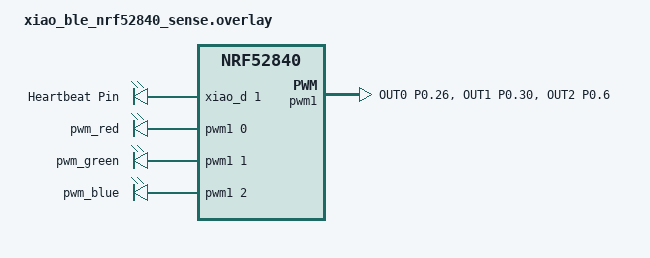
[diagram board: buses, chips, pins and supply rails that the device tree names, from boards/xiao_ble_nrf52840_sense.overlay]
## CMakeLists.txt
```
# SPDX-License-Identifier: Apache-2.0

cmake_minimum_required(VERSION 3.20.0)
list(APPEND ZEPHYR_EXTRA_MODULES ${CMAKE_CURRENT_SOURCE_DIR}/../drivers)
find_package(Zephyr REQUIRED HINTS $ENV{ZEPHYR_BASE})
target_include_directories(app PRIVATE ${CMAKE_CURRENT_SOURCE_DIR}/../include)

project(project-base)

FILE(GLOB app_sources src/*.c)
target_sources(app PRIVATE
    ${app_sources}
)
```

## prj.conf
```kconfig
# Bluetooth stuff
CONFIG_BT=y
CONFIG_BT_CENTRAL=y         # for NUS client
CONFIG_BT_ZEPHYR_NUS=y      # for NUS
CONFIG_BT_GATT_CLIENT=y     # to discover "mobile chip"
CONFIG_BT_OBSERVER=y        # for scanning
CONFIG_BT_EXT_ADV=y         # for scanning
CONFIG_BT_MAX_CONN=3

# Increase the number of ATT packets that can be queued
CONFIG_BT_ATT_TX_COUNT=9
CONFIG_BT_BUF_ACL_TX_COUNT=9
# Ensure the L2CAP TX buffer pool can accommodate the increase
CONFIG_BT_L2CAP_TX_BUF_COUNT=9

# More BT stuff
# Data Length Extension and MTU  
CONFIG_BT_USER_DATA_LEN_UPDATE=y
CONFIG_BT_CTLR_DATA_LENGTH_MAX=251
CONFIG_BT_BUF_ACL_RX_SIZE=251
CONFIG_BT_BUF_ACL_TX_SIZE=251
CONFIG_BT_L2CAP_TX_MTU=247

# Enables the use of k_malloc
CONFIG_HEAP_MEM_POOL_SIZE=4096

# Float support for printk
CONFIG_CBPRINTF_FP_SUPPORT=y

# JSON Library
CONFIG_JSON_LIBRARY=y

# Enable the Floating Point Unit in hardware
CONFIG_FPU=y
CONFIG_FPU_SHARING=y # Save FPU registers on context switch

# Possible Stack error detection in hardware
CONFIG_HW_STACK_PROTECTION=y

# UART Stuff
CONFIG_SERIAL=y
CONFIG_UART_INTERRUPT_DRIVEN=y

# HID keyboard
CONFIG_USB_DEVICE_STACK_NEXT=y
CONFIG_CDC_ACM_SERIAL_INITIALIZE_AT_BOOT=n
CONFIG_USBD_HID_SUPPORT=y

# Power management
CONFIG_REBOOT=y

# CRC tools to ensure validty of packets
CONFIG_CRC=y

# Increases Zephyr Workqueue thread stack
CONFIG_SYSTEM_WORKQUEUE_STACK_SIZE=4096

CONFIG_POSIX_API=y
```

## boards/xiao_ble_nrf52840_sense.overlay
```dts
/ {
	aliases {
		heartbeat = &heartbeat_pin;
	};

	leds {
		heartbeat_pin: heartbeat_pin {
			gpios = <&xiao_d 1 GPIO_ACTIVE_HIGH>;  /* D1 */
			label = "Heartbeat Pin";
		};
	};

	hid_dev_0: hid_dev_0 {
		compatible = "zephyr,hid-device";
		label = "HID0";
		protocol-code = "keyboard";
		in-report-size = <64>;
		in-polling-period-us = <1000>;
	};

	// Taken from the kite overlay
	pwm_leds {
		compatible = "pwm-leds";

		pwm_red: pwm_red {
			pwms = <&pwm1 0 PWM_MSEC(20) PWM_POLARITY_INVERTED>;
		};

		pwm_green: pwm_green {
			pwms = <&pwm1 1 PWM_MSEC(20) PWM_POLARITY_INVERTED>;
		};

		pwm_blue: pwm_blue {
			pwms = <&pwm1 2 PWM_MSEC(20) PWM_POLARITY_INVERTED>;
		};
	};
};

// Taken from the kite overlay
&pinctrl {
	pwm1_default: pwm1_default {
		group1 {
			psels = <NRF_PSEL(PWM_OUT0, 0, 26)>,  /* Red LED */
				<NRF_PSEL(PWM_OUT1, 0, 30)>,   /* Green LED */
				<NRF_PSEL(PWM_OUT2, 0, 6)>;    /* Blue LED */
			nordic,invert;
		};
	};

	pwm1_sleep: pwm1_sleep {
		group1 {
			psels = <NRF_PSEL(PWM_OUT0, 0, 26)>,
				<NRF_PSEL(PWM_OUT1, 0, 30)>,
				<NRF_PSEL(PWM_OUT2, 0, 6)>;
			low-power-enable;
		};
	};
};

&pwm1 {
	status = "okay";
	pinctrl-0 = <&pwm1_default>;
	pinctrl-1 = <&pwm1_sleep>;
	pinctrl-names = "default", "sleep";
};
```

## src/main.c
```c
/*
 * Copyright (c) 2026 Jack Cairns, Eden Mehr, Muhammed Abdilrahmin
 *
 * SPDX-License-Identifier: Apache-2.0
 */

#include <zephyr/kernel.h>
#include "zephyr/sys/atomic.h"
#include "zephyr/sys/reboot.h"
#include <zephyr/sys/printk.h>

#include <stdint.h>
#include <time.h>

#include "common.h"
#include "gatt.h"
#include "rb_tree.h"
#include "uart.h"

#define ONE_MIN         60000
#define CONN_TIMEOUT_MS 60000

/* ========================================================================== */
/* ENTRY POINT                                                                */
/* ========================================================================== */
int main(void)
{
    printk("[INFO] CSSE4011 Project Base Chip\r\n");

    // Wait for the rb_tree to initialise
    if (k_sem_take(&rb_semaphore, K_SECONDS(5)) < 0) {
        goto reboot;
    }

    int err = initialise_base_gatt();
    if (err < 0) {
        goto reboot;
    }

    struct cmd_ble_packet packet = {0};
    int64_t last_connected = k_uptime_get();
    int64_t prev = last_connected;

    while (1) {
        int64_t current = k_uptime_get();

        rb_lock();
        struct helm_node *node = get_rb_node(0);
        int connected = node && node->connection_status;
        rb_unlock();

        if (connected) {
            last_connected = current;
        } else if ((current - last_connected) > CONN_TIMEOUT_MS) {
            goto reboot;
        }

        if (atomic_get(&is_time_set) && (current - prev) > ONE_MIN) {
            prev = current;
            packet.cmd = 1;
            struct timespec tp;
            clock_gettime(CLOCK_REALTIME, &tp);
            packet.time = tp.tv_sec;
        } else {
            packet.cmd = 0;
            packet.time = 0;
        }

        send_sync_pulse_to_helms((uint8_t *)&packet, sizeof(struct cmd_ble_packet));
        k_msleep(PULSE_DELAY);
    }

    return (0);

reboot:
    // sys_reboot doesn't return
    sys_reboot(SYS_REBOOT_WARM);
    return (-1);
}
```

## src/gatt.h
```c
/*
 * Copyright (c) 2026 Jack Cairns, Eden Mehr, Muhammed Abdilrahmin
 *
 * SPDX-License-Identifier: Apache-2.0
 */

#ifndef GATT_H
#define GATT_H

#include "zephyr/kernel.h"

int initialise_base_gatt(void);
int send_sync_pulse_to_helms(uint8_t *data, uint16_t len);

/* Message Queue containing recieved data */
extern struct k_msgq gatt_msg_queue;

#endif
```

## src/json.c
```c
/*
 * Copyright (c) 2026 Jack Cairns, Eden Mehr, Muhammed Abdilrahmin
 *
 * SPDX-License-Identifier: Apache-2.0
 */

#include "common.h"
#include "json.h"

#include <math.h>

#include <zephyr/data/json.h>

#define DOUBLE_SCALE 1000

struct bat_wire {
    time_t timestamp;
    int64_t bat_mv;
    int32_t bat_charge;
};

struct imu_wire {
    time_t timestamp;
    int64_t gyro_rads;
    int64_t accel_ms2;
};

struct helm_wire {
    struct imu_wire imu;
    struct bat_wire bat;
    uint8_t connection_status;
    uint8_t id;
};

struct json_wire {
    time_t time;
    struct helm_wire nodeA;
    struct helm_wire nodeB;
    uint64_t speed;
    int8_t direction;
};

/* ========================================================================== */
/* Descriptors                                                                */
/* ========================================================================== */

static const struct json_obj_descr bat_json_descr[] = {
    JSON_OBJ_DESCR_PRIM(struct bat_wire, timestamp, JSON_TOK_INT64),
    JSON_OBJ_DESCR_PRIM(struct bat_wire, bat_mv, JSON_TOK_INT64),
    JSON_OBJ_DESCR_PRIM(struct bat_wire, bat_charge, JSON_TOK_INT),
};

static const struct json_obj_descr imu_json_descr[] = {
    JSON_OBJ_DESCR_PRIM(struct imu_wire, timestamp, JSON_TOK_INT64),
    JSON_OBJ_DESCR_PRIM(struct imu_wire, gyro_rads, JSON_TOK_INT64),
    JSON_OBJ_DESCR_PRIM(struct imu_wire, accel_ms2, JSON_TOK_INT64),
};

static const struct json_obj_descr helm_json_descr[] = {
    JSON_OBJ_DESCR_OBJECT(struct helm_wire, imu, imu_json_descr),
    JSON_OBJ_DESCR_OBJECT(struct helm_wire, bat, bat_json_descr),
    JSON_OBJ_DESCR_PRIM(struct helm_wire, connection_status, JSON_TOK_UINT),
    JSON_OBJ_DESCR_PRIM(struct helm_wire, id, JSON_TOK_UINT),
};

static const struct json_obj_descr json_descr[] = {
    JSON_OBJ_DESCR_PRIM(struct json_wire, time, JSON_TOK_INT64),
    JSON_OBJ_DESCR_OBJECT(struct json_wire, nodeA, helm_json_descr),
    JSON_OBJ_DESCR_OBJECT(struct json_wire, nodeB, helm_json_descr),
    JSON_OBJ_DESCR_PRIM(struct json_wire, speed, JSON_TOK_INT64),
    JSON_OBJ_DESCR_PRIM(struct json_wire, direction, JSON_TOK_INT),
};

static const struct json_obj_descr cmd_descr[] = {
    JSON_OBJ_DESCR_PRIM(struct cmd_packet, cmd, JSON_TOK_UINT),
    JSON_OBJ_DESCR_PRIM(struct cmd_packet, pulse, JSON_TOK_UINT),
    JSON_OBJ_DESCR_PRIM(struct cmd_packet, time, JSON_TOK_INT64),
};

static inline void imu_to_wire(struct imu_wire *w, const struct imu_data *d)
{
    w->timestamp = d->timestamp;
    w->gyro_rads = (int64_t)(d->gyro_rads * DOUBLE_SCALE);
    w->accel_ms2 = (int64_t)(d->accel_ms2 * DOUBLE_SCALE);
}

static inline void wire_to_imu(const struct imu_wire *w, struct imu_data *d)
{
    d->timestamp = w->timestamp;
    d->gyro_rads = w->gyro_rads / (double)DOUBLE_SCALE;
    d->accel_ms2 = w->accel_ms2 / (double)DOUBLE_SCALE;
}

static inline void bat_to_wire(struct bat_wire *w, const struct bat_packet *b)
{
    w->timestamp = b->timestamp;
    w->bat_mv = (int64_t)(b->bat_mv * DOUBLE_SCALE);
    w->bat_charge = b->bat_charge;
}

static inline void wire_to_bat(const struct bat_wire *w, struct bat_packet *b)
{
    b->timestamp = w->timestamp;
    b->bat_mv = w->bat_mv / (double)DOUBLE_SCALE;
    b->bat_charge = w->bat_charge;
}

static inline void helm_to_wire(struct helm_wire *w, const struct helm_packet *h)
{
    imu_to_wire(&w->imu, &h->imu);
    bat_to_wire(&w->bat, &h->bat);
    w->connection_status = h->connection_status;
    w->id = h->id;
}

static inline void wire_to_helm(const struct helm_wire *w, struct helm_packet *h)
{
    wire_to_imu(&w->imu, &h->imu);
    wire_to_bat(&w->bat, &h->bat);
    h->connection_status = w->connection_status;
    h->id = w->id;
}

/* ========================================================================== */
/* Encode / Decode                                                            */
/* ========================================================================== */

int encode_cmd_packet(struct cmd_packet *val, char *buffer, size_t buf_size)
{
    int ret = json_obj_encode_buf(cmd_descr, ARRAY_SIZE(cmd_descr), val, buffer, buf_size);
    return (ret);
}

int decode_cmd_packet(char *input, size_t len, struct cmd_packet *data)
{
    int ret = json_obj_parse(input, len, cmd_descr, ARRAY_SIZE(cmd_descr), data);
    return (ret < 0) ? (ret) : 0;
}

/* Encodes a cmd_json struct into a JSON string in the provided buffer. */
int encode_json_packet(struct json_packet *val, char *buffer, size_t buf_size)
{
    struct json_wire wire = {
        .direction = val->direction,
        .speed = sqrt(val->speed / RADIUS) * DOUBLE_SCALE,
        .time = val->time,
    };

    helm_to_wire(&wire.nodeA, &val->nodeA);
    helm_to_wire(&wire.nodeB, &val->nodeB);

    int ret = json_obj_encode_buf(json_descr, ARRAY_SIZE(json_descr), &wire, buffer, buf_size);
    return (ret);
}

/* Decodes a JSON string into a cmd_json struct. */
int decode_json_packet(char *input, size_t len, struct json_packet *data)
{
    struct json_wire wire = {0};
    int ret = json_obj_parse(input, len, json_descr, ARRAY_SIZE(json_descr), &wire);
    if (ret < 0) {
        return ret;
    }

    data->time = wire.time;
    data->speed = wire.speed / (double)DOUBLE_SCALE;
    data->direction = wire.direction;
    wire_to_helm(&wire.nodeA, &data->nodeA);
    wire_to_helm(&wire.nodeB, &data->nodeB);
    return 0;
}
```

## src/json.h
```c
/*
 * Copyright (c) 2026 Jack Cairns, Eden Mehr, Muhammed Abdilrahmin
 *
 * SPDX-License-Identifier: Apache-2.0
 */

#ifndef JSON_H
#define JSON_H

#include "common.h"
#include <stddef.h>
#include <stdint.h>
#include <time.h>

struct helm_packet {
    struct imu_data imu;
    struct bat_packet bat;
    uint8_t connection_status;
    uint8_t id;
};

struct json_packet {
    time_t time;
    struct helm_packet nodeA;
    struct helm_packet nodeB;
    double speed;
    int8_t direction;
};

struct cmd_packet {
    uint8_t cmd;
    uint16_t pulse;
    time_t time;
};

int encode_cmd_packet(struct cmd_packet *val, char *buffer, size_t buf_size);
int decode_cmd_packet(char *input, size_t len, struct cmd_packet *data);
int encode_json_packet(struct json_packet *val, char *buffer, size_t buf_size);
int decode_json_packet(char *input, size_t len, struct json_packet *data);

#endif
```

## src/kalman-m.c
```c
// /* ========================================================================== */
// /* Kalman Filter Algorithm Source                                             */
// /* Written: Muhammed A                                                        */
// /* ========================================================================== */

// #include "kalman-m.h"

// #include <stdlib.h>
// #include <math.h>
// #include <zephyr/kernel.h>

// #define KALMAN_DT 0.1

// // A lot of these seem really as if they came out of nowhere, but they're the
// // process of trying to simplify the arithmetic of matrix multiplications
// // as significantly as possible. For example, calculating the P array in 
// // kf_predict requires calculating F * P * F^T - but since F is a constant
// // (and a simple one at that), it is very significantly faster, safer, and 
// // much more memory efficient to just simplify it. These simplifications were
// // done using https://www.matrixmultiplicationscalculator.com/ because I don't
// // trust my matrix multiplication skills lol

// static const double kalman_dt = KALMAN_DT;
// static const double kalman_dt2 = pow(KALMAN_DT, 2);

// void kf_init(struct kalman *kf, double Q, double R, double x0)
// {
//     kf->Q = Q;
//     kf->R = R;

//     // Starting at 0 (this is only for one axis)
//     kf->x_k[0] = x0;
//     kf->x_k[1] = 0;

//     // We just want a simple P matrix at the beginning since we have no 
//     // information about our sensor variance
//     kf->P[0][0] = 1;
//     kf->P[1][1] = 1;
//     kf->P[0][1] = 0;
//     kf->P[1][0] = 0;
// }

// // Predict first...
// void kf_predict(struct kalman *kf)
// {
//     // Constant velocity - just adds the velocity from last time on.
//     kf->x_k[0] += kalman_dt * kf->x_k[1];

//     kf->P[0][0] += kf->P[0][1] + kalman_dt * kf->P[1][0] +
//                    kalman_dt2 * kf->P[1][1] + kf->Q;
//     kf->P[0][1] += kalman_dt * kf->P[1][1];
//     kf->P[1][0] += kalman_dt * kf->P[1][1];
//     kf->P[1][1] += kf->Q;
// }

// // Get the values...
// // Then update:
// void kf_update(struct kalman *kf, double measurement)
// {
//     double K[2];
//     // By the miracle of matrix multiplication, the calculation for HPH^T
//     // literally just flattens to being the first item of the P array.
//     double K_scaling = 1 / (kf->P[0][0] + kf->R);
//     K[0] = K_scaling * kf->P[0][0];
//     K[1] = K_scaling * kf->P[1][0];

//     // Calculating x_update
//     kf->x_k[0] += K[0] * (measurement - kf->x_k[0]);
//     kf->x_k[1] += K[1] * (measurement - kf->x_k[0]);

//     // When calculating (I - K*H), it is of the form [1-K[0]  0], [-K[1]  1]
//     // Hence there are only two variables - here they are known as A and B,
//     // where A = 1 - K[0]; and B = -K[1];
//     double a = 1 - K[0];
//     double b = -K[1];

//     kf->P[1][0] += kf->P[0][0] * b;
//     kf->P[1][1] += kf->P[0][1] * b;

//     kf->P[0][0] *= a;
//     kf->P[0][1] *= a;
// }
```

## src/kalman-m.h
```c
// /* ========================================================================== */
// /* Kalman Filter Algorithm Header                                             */
// /* Written: Muhammed A                                                        */
// /* ========================================================================== */

// #ifndef BASE_KALMAN_H
// #define BASE_KALMAN_H

// #include <zephyr/kernel.h>

// // Default values (this was just trial and error)
// #define KF_Q  0.5
// #define KF_R  20
// #define KF_X0 0

// struct kalman {
//     // F will always be [1 dt] [0 1]
//     // H matrix is [1 0] 
//     double Q;
//     double R;

//     double x_k[2];
//     double P[2][2];
// };

// void kf_init(struct kalman *kf, double Q, double R, double x0);
// void kf_predict(struct kalman *kf);
// void kf_update(struct kalman *kf, double measurement);

// #endif
```

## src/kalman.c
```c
// /*
//  * Copyright (c) 2026 Jack Cairns, Eden Mehr
//  *
//  * SPDX-License-Identifier: Apache-2.0
//  */

// #include "kalman.h"
// #include "matrix.h"
// #include "localisation.h"

// #include "zephyr/kernel.h"
// #include "zephyr/toolchain.h"
// #include <stdint.h>
// #include <stdio.h>
// #include <math.h>

// K_MSGQ_DEFINE(kalman_msg_queue, sizeof(struct all_position), 5, 4);

// /* ========================================================================== */
// /* Filter State                                                               */
// /* Static instance of the 2D Kalman filter. Matrices are zero-initialised     */
// /* here; kf_init() fills in the correct values before the thread runs.        */
// /* F and H are set to identity/observation defaults; Q, R, P are zeroed       */
// /* and populated at runtime to allow variable-dt updates.                     */
// /* ========================================================================== */

// /* clang-format off */
// struct kalman_filter_2D filter = {
//     .F = {
//         {1, 0, 0, 0},
//         {0, 1, 0, 0},
//         {0, 0, 1, 0},
//         {0, 0, 0, 1}},
//     .H = {
//         {1, 0, 0, 0},
//         {0, 1, 0, 0}},
//     .Q = {
//         {0, 0, 0, 0},
//         {0, 0, 0, 0},
//         {0, 0, 0, 0},
//         {0, 0, 0, 0}},
//     .R = {
//         {0, 0},
//         {0, 0}},
//     .P = {
//         {0, 0, 0, 0},
//         {0, 0, 0, 0},
//         {0, 0, 0, 0},
//         {0, 0, 0, 0}},
//     .x = {
//         {0}, {0}, {0}, {0}}
// };

// /* Identity matrix reused in the covariance update step: P = (I - KH) * P */
// double identity[NUM_STATES][NUM_STATES] = {
//     {1, 0, 0, 0},
//     {0, 1, 0, 0},
//     {0, 0, 1, 0},
//     {0, 0, 0, 1}
// };
// /* clang-format on */

// /* ========================================================================== */
// /* INITIALISATION                                                             */
// /* Sets up F, Q, R, and P using the default DT defined in kalman.h.           */
// /* Called once before the filter loop starts. F and Q will be rebuilt each    */
// /* cycle by kf_update_dt() using the actual measured dt.                      */
// /*                                                                            */
// /* Tuning knobs (defined in kalman.h):                                        */
// /*   Q_VAR - process noise variance. Increase if output lags real position.   */
// /*   R_VAR - measurement noise variance. Increase if output is too noisy.     */
// /*   P0    - initial state covariance diagonal. Decrease for faster           */
// /*           convergence at startup.                                          */
// /* ========================================================================== */

// void kf_init(struct kalman_filter_2D *kf)
// {
//     double dt = DT;
//     double dt2 = pow(DT, 2);
//     double dt3 = pow(DT, 3);
//     double dt4 = pow(DT, 4);

//     /* State transition matrix F: constant-velocity model */
//     /* x_k = x_{k-1} + vx*dt,  y_k = y_{k-1} + vy*dt      */
//     kf->F[0][2] = dt;
//     kf->F[1][3] = dt;

//     /* Process noise covariance Q: derived from continuous white noise */
//     /* acceleration model, discretised over dt.                        */
//     kf->Q[0][0] = dt4 / 4 * Q_VAR;
//     kf->Q[0][2] = dt3 / 2 * Q_VAR;
//     kf->Q[1][1] = dt4 / 4 * Q_VAR;
//     kf->Q[1][3] = dt3 / 2 * Q_VAR;
//     kf->Q[2][0] = dt3 / 2 * Q_VAR;
//     kf->Q[2][2] = dt2 * Q_VAR;
//     kf->Q[3][1] = dt3 / 2 * Q_VAR;
//     kf->Q[3][3] = dt2 * Q_VAR;

//     /* Measurement noise covariance R: assumed diagonal (x and y */
//     /* measurement errors are independent).                      */
//     kf->R[0][0] = R_VAR;
//     kf->R[1][1] = R_VAR;

//     /* Initial state covariance P: diagonal with P0, reflecting high */
//     /* initial uncertainty in both position and velocity states.     */
//     for (uint8_t i = 0; i < NUM_STATES; i++) {
//         for (uint8_t j = 0; j < NUM_STATES; j++) {
//             kf->P[i][j] = (i == j) ? P0 : 0.0;
//         }
//     }
// }

// /* ========================================================================== */
// /* UPDATE DT                                                                  */
// /* Rebuilds F and Q for the actual elapsed time since the last measurement.   */
// /* Must be called before kf_predict() each cycle so the motion model and      */
// /* process noise correctly reflect the real sample interval rather than the   */
// /* fixed DT fallback.                                                         */
// /* ========================================================================== */

// static void kf_update_dt(struct kalman_filter_2D *kf, double dt)
// {
//     double dt2 = dt * dt;
//     double dt3 = dt2 * dt;
//     double dt4 = dt3 * dt;

//     /* Rebuild state transition matrix with new dt */
//     kf->F[0][2] = dt;
//     kf->F[1][3] = dt;

//     /* Rebuild process noise covariance with new dt */
//     kf->Q[0][0] = dt4 / 4 * Q_VAR;
//     kf->Q[0][2] = dt3 / 2 * Q_VAR;
//     kf->Q[1][1] = dt4 / 4 * Q_VAR;
//     kf->Q[1][3] = dt3 / 2 * Q_VAR;
//     kf->Q[2][0] = dt3 / 2 * Q_VAR;
//     kf->Q[2][2] = dt2 * Q_VAR;
//     kf->Q[3][1] = dt3 / 2 * Q_VAR;
//     kf->Q[3][3] = dt2 * Q_VAR;
// }

// /* ========================================================================== */
// /* PREDICT STEP                                                               */
// /* Projects the state and covariance forward one timestep using the motion    */
// /* model F and process noise Q.                                               */
// /*                                                                            */
// /*   x = F * x                                                                */
// /*   P = F * P * F^T + Q                                                      */
// /* ========================================================================== */

// static void kf_predict(struct kalman_filter_2D *kf)
// {
//     /* x = F * x */
//     matrix_multi(&(kf->F[0][0]), &(kf->x[0][0]), &(kf->x_prior[0][0]), NUM_STATES, NUM_STATES, 1);

//     /* P = F * P * F^T + Q */
//     double Ft[NUM_STATES][NUM_STATES];
//     matrix_trans(&(kf->F[0][0]), &(Ft[0][0]), NUM_STATES, NUM_STATES);

//     double FP[NUM_STATES][NUM_STATES];
//     matrix_multi(&(kf->F[0][0]), &(kf->P[0][0]), &(FP[0][0]), NUM_STATES, NUM_STATES, NUM_STATES);

//     double FPFt[NUM_STATES][NUM_STATES];
//     matrix_multi(&(FP[0][0]), &(Ft[0][0]), &(FPFt[0][0]), NUM_STATES, NUM_STATES, NUM_STATES);

//     matrix_add(&(FPFt[0][0]), &(kf->Q[0][0]), &(kf->P_prior[0][0]), NUM_STATES, NUM_STATES);

//     /* Commit predicted state and covariance */
//     matrix_copy(&(kf->x_prior[0][0]), &(kf->x[0][0]), NUM_STATES, 1);
//     matrix_copy(&(kf->P_prior[0][0]), &(kf->P[0][0]), NUM_STATES, NUM_STATES);
// }

// /* ========================================================================== */
// /* UPDATE STEP                                                                */
// /* Corrects the predicted state using the new position measurement z.         */
// /*                                                                            */
// /*   y = z - H * x              (innovation)                                  */
// /*   S = H * P * H^T + R        (innovation covariance)                       */
// /*   K = P * H^T * S^-1         (Kalman gain)                                 */
// /*   x = x + K * y              (state update)                                */
// /*   P = (I - K * H) * P        (covariance update)                           */
// /*                                                                            */
// /* Returns -EINVAL if S is singular (measurement is discarded).               */
// /* ========================================================================== */

// static int kf_update(struct kalman_filter_2D *kf, double z[NUM_MEAS][1])
// {
//     int err;

//     /* y = z - H * x */
//     double Hx[NUM_MEAS][1];
//     matrix_multi(&(kf->H[0][0]), &(kf->x[0][0]), &(Hx[0][0]), NUM_MEAS, NUM_STATES, 1);

//     double y[NUM_MEAS][1];
//     matrix_sub(&(z[0][0]), &(Hx[0][0]), &(y[0][0]), NUM_MEAS, 1);

//     /* S = H * P * H^T + R */
//     double Ht[NUM_STATES][NUM_MEAS];
//     matrix_trans(&(kf->H[0][0]), &(Ht[0][0]), NUM_MEAS, NUM_STATES);

//     double HP[NUM_MEAS][NUM_STATES];
//     matrix_multi(&(kf->H[0][0]), &(kf->P[0][0]), &(HP[0][0]), NUM_MEAS, NUM_STATES, NUM_STATES);

//     double S[NUM_MEAS][NUM_MEAS];
//     matrix_multi(&(HP[0][0]), &(Ht[0][0]), &(S[0][0]), NUM_MEAS, NUM_STATES, NUM_MEAS);
//     matrix_add(&(S[0][0]), &(kf->R[0][0]), &(S[0][0]), NUM_MEAS, NUM_MEAS);

//     /* K = P * H^T * S^-1 */
//     double S_inv[NUM_MEAS][NUM_MEAS];
//     err = matrix2x2_inv(S, S_inv);
//     if (err) {
//         return (err);
//     }

//     double PHt[NUM_STATES][NUM_MEAS];
//     matrix_multi(&(kf->P[0][0]), &(Ht[0][0]), &(PHt[0][0]), NUM_STATES, NUM_STATES, NUM_MEAS);
//     matrix_multi(&(PHt[0][0]), &(S_inv[0][0]), &(kf->K[0][0]), NUM_STATES, NUM_MEAS, NUM_MEAS);

//     /* x = x + K * y */
//     double Ky[NUM_STATES][1];
//     matrix_multi(&(kf->K[0][0]), &(y[0][0]), &(Ky[0][0]), NUM_STATES, NUM_MEAS, 1);
//     matrix_add(&(kf->x[0][0]), &(Ky[0][0]), &(kf->x[0][0]), NUM_STATES, 1);

//     /* P = (I - K * H) * P */
//     double KH[NUM_STATES][NUM_STATES];
//     matrix_multi(&(kf->K[0][0]), &(kf->H[0][0]), &(KH[0][0]), NUM_STATES, NUM_MEAS, NUM_STATES);

//     double I_KH[NUM_STATES][NUM_STATES];
//     matrix_sub(&(identity[0][0]), &(KH[0][0]), &(I_KH[0][0]), NUM_STATES, NUM_STATES);
//     matrix_multi(&(I_KH[0][0]), &(kf->P[0][0]), &(kf->P[0][0]), NUM_STATES, NUM_STATES, NUM_STATES);

//     return (0);
// }

// /* ========================================================================== */
// /* KALMAN THREAD                                                              */
// /* Consumes raw position fixes from localisation_msg_queue, runs one          */
// /* predict-update cycle per fix, and pushes both the raw and filtered         */
// /* positions onto kalman_msg_queue for the UART thread to transmit.           */
// /*                                                                            */
// /* dt is computed from the timestamp embedded in each position_data struct    */
// /* rather than assuming a fixed interval. It is clamped to [0.05, 2.0]s to    */
// /* prevent corruption from localisation stalls or burst catch-up.             */
// /* ========================================================================== */

// void thread_kalman(void *dummy1, void *dummy2, void *dummy3)
// {
//     ARG_UNUSED(dummy1);
//     ARG_UNUSED(dummy2);
//     ARG_UNUSED(dummy3);

//     struct position_data raw = {0};
//     struct kalman_position kalman = {0};
//     struct all_position msg = {0};
//     double raw_pos[NUM_MEAS][1] = {0};

//     int64_t last_time = 0;

//     kf_init(&filter);

//     while (1) {

//         /* Block until a new position fix is available */
//         k_msgq_get(&localisation_msg_queue, &raw, K_FOREVER);

//         /* Compute actual dt from localisation timestamps */
//         double dt;
//         if (last_time == 0) {
//             dt = DT; /* fallback for the very first measurement */
//         } else {
//             dt = (double)(raw.timestamp - last_time) / 1000.0;

//             /* Clamp dt - a stall followed by burst catch-up would otherwise */
//             /* cause an implausibly large state prediction jump              */
//             if (dt > 2.0) {
//                 dt = 2.0;
//             } else if (dt < 0.05) {
//                 dt = 0.05;
//             }
//         }

//         last_time = raw.timestamp;

//         raw_pos[0][0] = raw.x;
//         raw_pos[1][0] = raw.y;

//         /* Rebuild F and Q for this dt before predicting */
//         kf_update_dt(&filter, dt);

//         /* Predict then correct */
//         kf_predict(&filter);
//         if (kf_update(&filter, raw_pos) < 0) {
//             // Singular matrix found -> discard this measurment
//             continue;
//         }

//         /* store kalman output */
//         kalman.x = filter.x[0][0];
//         kalman.y = filter.x[1][0];
//         kalman.timestamp = k_uptime_get();

//         /* Forward both raw and kalman positions to the UART thread */
//         msg.raw = raw;
//         msg.kalman = kalman;
//         k_msgq_put(&kalman_msg_queue, &msg, K_NO_WAIT);
//     }
// }

// K_THREAD_DEFINE(kalman_thread, 8192, thread_kalman, NULL, NULL, NULL, 7, 0, 0);
```

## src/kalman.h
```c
// /*
//  * Copyright (c) 2026 Jack Cairns, Eden Mehr
//  *
//  * SPDX-License-Identifier: Apache-2.0
//  */

// #ifndef KALMAN_H
// #define KALMAN_H

// #include "localisation.h"

// #define DT         0.5 // default fallback
// #define NUM_STATES 4
// #define NUM_MEAS   2

// // Tuning Constants

// /*
//  -  R_VAR: how much you trust the multilateration output. Higher = filter trusts its own prediction
//     more and smooths out measurement noise, but lags real movement.
//  -  Q_VAR: how much you trust the motion model. Higher = filter responds faster to real movement,
//     but passes through more noise.
//  -  P0: just affects how quickly the filter converges from startup, not steady-state behaviour.
// */

// #define R_VAR 50.0
// #define Q_VAR 45.0
// #define P0    5.0

// /* Message Queue containing positional data */
// extern struct k_msgq kalman_msg_queue;

// struct kalman_position {
//     int64_t timestamp;
//     double x;
//     double y;
// };

// struct all_position {
//     struct position_data raw;
//     struct kalman_position kalman;
// };

// struct kalman_filter_2D {
//     double F[NUM_STATES][NUM_STATES]; /* state transition matrix*/
//     double H[NUM_MEAS][NUM_STATES];
//     double Q[NUM_STATES][NUM_STATES];
//     double R[NUM_MEAS][NUM_MEAS];
//     double P[NUM_STATES][NUM_STATES];
//     double x[NUM_STATES][1];

//     double x_prior[NUM_STATES][1];
//     double P_prior[NUM_STATES][NUM_STATES];
//     double K[NUM_STATES][NUM_MEAS];
// };

// #endif /* KALMAN_H */
```

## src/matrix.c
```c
/*
 * Copyright (c) 2026 Jack Cairns, Eden Mehr, Muhammed Abdilrahmin
 *
 * SPDX-License-Identifier: Apache-2.0
 */

#include <math.h>
#include <sys/errno.h>

/**
 * @brief Multiply two matrices: (MxN) * (NxP) = (MxP).
 *
 * @param A  Left-hand input matrix, stored row-major with dimensions [m][n].
 * @param B  Right-hand input matrix, stored row-major with dimensions [n][p].
 * @param C  Output matrix, stored row-major with dimensions [m][p]. Must not
 *           alias A or B.
 * @param m  Number of rows in A and C.
 * @param n  Number of columns in A and rows in B.
 * @param p  Number of columns in B and C.
 */
void matrix_multi(double *A, double *B, double *C, int m, int n, int p)
{
    for (int i = 0; i < m; i++) {
        for (int j = 0; j < p; j++) {
            C[i * p + j] = 0;
            for (int k = 0; k < n; k++) {
                C[i * p + j] += A[i * n + k] * B[k * p + j];
            }
        }
    }
}

/**
 * @brief Transpose a matrix: (MxN) -> (NxM).
 *
 * @param A  Input matrix, stored row-major with dimensions [m][n].
 * @param B  Output transposed matrix, stored row-major with dimensions [n][m].
 *           Must not alias A.
 * @param m  Number of rows in A (columns in B).
 * @param n  Number of columns in A (rows in B).
 */
void matrix_trans(double *A, double *B, int m, int n)
{
    for (int i = 0; i < m; i++) {
        for (int j = 0; j < n; j++) {
            B[j * m + i] = A[i * n + j];
        }
    }
}

/**
 * @brief Element-wise addition of two MxN matrices: C = A + B.
 *
 * @param A  First input matrix, stored row-major with dimensions [m][n].
 * @param B  Second input matrix, stored row-major with dimensions [m][n].
 * @param C  Output matrix, stored row-major with dimensions [m][n].
 * @param m  Number of rows.
 * @param n  Number of columns.
 */
void matrix_add(double *A, double *B, double *C, int m, int n)
{
    for (int i = 0; i < m; i++) {
        for (int j = 0; j < n; j++) {
            C[i * n + j] = A[i * n + j] + B[i * n + j];
        }
    }
}

/**
 * @brief Element-wise subtraction of two MxN matrices: C = A - B.
 *
 * @param A  Minuend matrix, stored row-major with dimensions [m][n].
 * @param B  Subtrahend matrix, stored row-major with dimensions [m][n].
 * @param C  Output matrix, stored row-major with dimensions [m][n].
 * @param m  Number of rows.
 * @param n  Number of columns.
 */
void matrix_sub(double *A, double *B, double *C, int m, int n)
{
    for (int i = 0; i < m; i++) {
        for (int j = 0; j < n; j++) {
            C[i * n + j] = A[i * n + j] - B[i * n + j];
        }
    }
}

/**
 * @brief Copy an MxN matrix element-wise: dest = src.
 *
 * @param src   Source matrix, stored row-major with dimensions [m][n].
 * @param dest  Destination matrix, stored row-major with dimensions [m][n].
 *              Must not alias src.
 * @param m     Number of rows.
 * @param n     Number of columns.
 */
void matrix_copy(double *src, double *dest, int m, int n)
{
    for (int i = 0; i < m; i++) {
        for (int j = 0; j < n; j++) {
            dest[i * n + j] = src[i * n + j];
        }
    }
}

/**
 * @brief Compute the inverse of a 2x2 matrix.
 *
 * Uses the closed-form adjugate formula: A^-1 = (1/det) * [[d,-b],[-c,a]].
 * Returns an error if the matrix is singular (|det| < 1e-6).
 *
 * @param A    Input 2x2 matrix.
 * @param inv  Output 2x2 inverse matrix. Must not alias A.
 * @return 0 on success, -EINVAL if A is singular.
 */
int matrix2x2_inv(double A[][2], double inv[][2])
{
    // [a b]^-1 = 1/det * [ d -b]
    // [c d]               [-c  a]

    double det = A[0][0] * A[1][1] - A[0][1] * A[1][0];

    if (fabs(det) < 1e-6) {
        // Singular matrix
        return (-EINVAL);
    }

    inv[0][0] = A[1][1] * (1.0 / det);
    inv[0][1] = -A[0][1] * (1.0 / det);
    inv[1][0] = -A[1][0] * (1.0 / det);
    inv[1][1] = A[0][0] * (1.0 / det);
    return (0);
}
```

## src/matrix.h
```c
/*
 * Copyright (c) 2026 Jack Cairns, Eden Mehr, Muhammed Abdilrahmin
 *
 * SPDX-License-Identifier: Apache-2.0
 */

#ifndef MATRIX_H
#define MATRIX_H

void matrix_multi(double *A, double *B, double *C, int m, int n, int p);
void matrix_trans(double *A, double *B, int m, int n);
void matrix_add(double *A, double *B, double *C, int m, int n);
void matrix_sub(double *A, double *B, double *C, int m, int n);
void matrix_copy(double *src, double *dest, int m, int n);
int matrix2x2_inv(double A[][2], double inv[][2]);

#endif
```

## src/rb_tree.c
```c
/*
 * Copyright (c) 2026 Jack Cairns, Eden Mehr, Muhammed Abdilrahmin
 *
 * SPDX-License-Identifier: Apache-2.0
 */

#include "rb_tree.h"
#include "common.h"

#include "gatt.h"

#include <stdio.h>
#include <string.h>
#include <sys/errno.h>

#include <zephyr/kernel.h>
#include "zephyr/sys/printk.h"

#define RB_STACK    2048
#define RB_PRIORITY 6

static bool helm_lessthan_func(struct rbnode *a, struct rbnode *b);

/* ========================================================================== */
/* Static Data                                                                */
/* ========================================================================== */

static struct rbtree tree = {.lessthan_fn = helm_lessthan_func};
static uint8_t initialised = 0;
static int size = 0;

// Tree Mutex
K_MUTEX_DEFINE(rbLock);

// Tree Initialised Semaphore
K_SEM_DEFINE(rb_semaphore, 0, 1);

// Sensor Semaphore
K_SEM_DEFINE(sensor_semaphore, 0, 1);

#define RECEIVED_MASK 0x03

struct helm_node helm_list[NUM_HELMS] = {
    [0] = {.id = 0},
    [1] = {.id = 1},
};

/* ========================================================================== */
/* Tree Protection                                                            */
/* ========================================================================== */

/**
 * @brief Attempt to acquire the rb_tree mutex, timeout after 10ms.
 * @return 0 on success, negative errno on timeout.
 */
int rb_lock(void)
{
    return k_mutex_lock(&rbLock, K_MSEC(10));
}

/**
 * @brief Attempt to acquire the rb_tree mutex without waiting.
 * @return 0 on success, -EBUSY if unavailable.
 */
int rb_lock_no_wait(void)
{
    return k_mutex_lock(&rbLock, K_NO_WAIT);
}

/**
 * @brief Release the rb_tree mutex.
 * @return 0 on success, negative errno on failure.
 */
int rb_unlock(void)
{
    return k_mutex_unlock(&rbLock);
}

/* ========================================================================== */
/* Tree Operations                                                            */
/* ========================================================================== */

static bool helm_lessthan_func(struct rbnode *a, struct rbnode *b)
{
    struct helm_node *n1 = CONTAINER_OF(a, struct helm_node, rbnode);
    struct helm_node *n2 = CONTAINER_OF(b, struct helm_node, rbnode);

    return (n1->id < n2->id);
}

/**
 * @brief Insert pre-allocated nodes for both helms and mark the tree ready.
 *        Safe to call multiple times — subsequent calls are no-ops.
 */
static void init_rb_tree(void)
{
    if (initialised) {
        return;
    }

    k_mutex_lock(&rbLock, K_FOREVER);

    for (int i = 0; i < ARRAY_SIZE(helm_list); i++) {
        rb_insert(&tree, &helm_list[i].rbnode);
        size++;
    }

    initialised = 1;
    k_mutex_unlock(&rbLock);
}

/**
 * @brief Look up a helm node by its id.
 *
 * @param id  Helm identifier to search for.
 * @return Pointer to the matching helm_node, or NULL if not found or tree
 *         uninitialised.
 */
struct helm_node *get_rb_node(uint16_t id)
{
    if (!initialised) {
        return (NULL);
    }

    if (rb_lock()) {
        printk("[ERROR] rbTree Mutex unavailable\n");
        return (NULL);
    }

    struct rbnode *node = tree.root;
    while (node != NULL) {
        struct helm_node *hn = CONTAINER_OF(node, struct helm_node, rbnode);

        if (id == hn->id) {
            rb_unlock();
            return (hn);
        } else if (id < hn->id) {
            node = z_rb_child(node, 0);
        } else {
            node = z_rb_child(node, 1);
        }
    }

    rb_unlock();
    return (NULL);
}

/**
 * @brief Return the number of nodes currently in the tree.
 * @return Current tree size.
 */
int get_rb_tree_size(void)
{
    return size;
}

/* ========================================================================== */
/* Node Insert / Remove                                                       */
/* ========================================================================== */

/**
 * @brief Remove a helm node from the tree by id. Frees heap-allocated nodes.
 *
 * @param id  Helm identifier to remove.
 * @return 0 on success, -EBUSY if the lock is unavailable, -ESRCH if not found.
 */
int remove_rb_node(uint16_t id)
{
    if (rb_lock()) {
        printk("[ERROR] rbTree Mutex unavailable\n");
        return (-EBUSY);
    }

    struct helm_node *node = get_rb_node(id);
    if (node == NULL) {
        rb_unlock();
        return (-ESRCH);
    }

    rb_remove(&tree, &node->rbnode);
    size--;

    if (node->dynamic) {
        k_free(node);
    }

    rb_unlock();
    return (0);
}

/**
 * @brief Insert a node with the given id into the tree.
 *
 * For ids 0 and 1, re-inserts the corresponding pre-allocated helm_list entry.
 * For any other id, allocates a new node on the heap. Returns -EINVAL if a
 * node with that id already exists.
 *
 * @param id  Helm identifier for the new node.
 * @return 0 on success, -EBUSY if the lock is unavailable, -EINVAL if the id
 *         is already present, -ENOMEM if heap allocation fails.
 */
int insert_rb_node(uint16_t id)
{
    if (rb_lock()) {
        printk("[ERROR] rbTree Mutex unavailable\n");
        return (-EBUSY);
    }

    if (get_rb_node(id) != NULL) {
        rb_unlock();
        return (-EINVAL);
    }

    /* Re-insert one of the two pre-allocated static nodes */
    if (id < NUM_HELMS) {
        rb_insert(&tree, &helm_list[id].rbnode);
        size++;
        rb_unlock();
        return (0);
    }

    /* Arbitrary new node — heap allocate */
    struct helm_node *new = (struct helm_node *)k_malloc(sizeof(struct helm_node));
    if (new == NULL) {
        rb_unlock();
        return (-ENOMEM);
    }

    memset(new, 0, sizeof(*new));
    new->id = id;
    new->dynamic = 1;

    rb_insert(&tree, &new->rbnode);
    size++;

    rb_unlock();
    return (0);
}

/* ========================================================================== */
/* Red Black Tree Thread                                                      */
/* ========================================================================== */

void thread_rb(void *arg1, void *arg2, void *arg3)
{
    ARG_UNUSED(arg1);
    ARG_UNUSED(arg2);
    ARG_UNUSED(arg3);

    init_rb_tree();
    // Notify main() that the tree is setup
    k_sem_give(&rb_semaphore);

    struct helm_node *node;
    struct ble_packet packet;

    while (1) {
        // uint8_t received_mask = 0;
        // Drain all packets from the queue until a sensor packet from both nodes has been received
        // while (received_mask != RECEIVED_MASK) {
        if (k_msgq_get(&gatt_msg_queue, &packet, K_FOREVER) == 0) {
            rb_lock();
            node = get_rb_node(packet.node_num);
            if (node != NULL) {
                switch (packet.packet_id) {
                case SENSOR:
                    node->imu_data = packet.data.imu;
                    // received_mask |= BIT(packet.node_num);
                    k_sem_give(&sensor_semaphore);
                    break;
                case BATTERY:
                    node->battery_data = packet.data.bat;
                    break;
                }
            }

            rb_unlock();
        }
        // }

        // Once a sensor packet from both nodes has been received -> give semaphore
        // k_sem_give(&sensor_semaphore);
    }
}

K_THREAD_DEFINE(rb_thread, RB_STACK, thread_rb, NULL, NULL, NULL, RB_PRIORITY, 0, 0);
```

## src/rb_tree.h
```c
/*
 * Copyright (c) 2026 Jack Cairns, Eden Mehr, Muhammed Abdilrahmin
 *
 * SPDX-License-Identifier: Apache-2.0
 */

#ifndef RB_TREE_H
#define RB_TREE_H

#include "common.h"

#include <stdint.h>
#include <zephyr/sys/rb.h>

#define NUM_HELMS 2

struct helm_node {
    struct imu_data imu_data;
    struct bat_packet battery_data;
    uint8_t connection_status;
    uint8_t id;      /* sort key — 0 = Helm-A, 1 = Helm-B for the two static nodes */
    uint8_t dynamic; /* 1 if heap-allocated, 0 if from helm_list[] */
    struct rbnode rbnode;
};

int rb_lock(void);
int rb_lock_no_wait(void);
int rb_unlock(void);
struct helm_node *get_rb_node(uint16_t id);
int get_rb_tree_size(void);
int remove_rb_node(uint16_t id);
int insert_rb_node(uint16_t id);

extern struct k_sem sensor_semaphore;
extern struct k_sem rb_semaphore;

#endif
```
